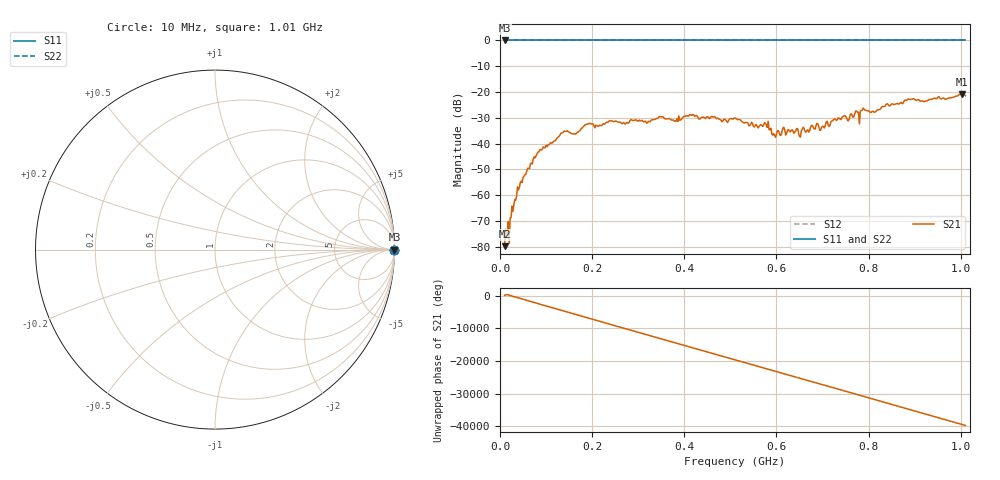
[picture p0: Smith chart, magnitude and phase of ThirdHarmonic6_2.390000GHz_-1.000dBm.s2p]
! 8/17/2025 3:52:18 AM
! C:\ANRITSUVNA\TEMP\TEMP.S2P
! CHANNEL.1
! TR.MEASUREMENT
! RAW.DATA
! RF.CORRECTION.OFF
! AVERAGING.OFF
! IF.BANDWIDTH: 5KHZ
! SWEEPTYPE:  FREQ.SWEEP(Linear)
! Reference Plane Port Info
! PORT:  PORT1  PORT2
! DISTANCE:  0  m  0  m
! TIME:  0  s  0  s
! PHASE.OFFSET:  0  deg.  0  deg.
! LOSS:  0  dB  0  dB
! REF.LOSS:  0  dB  0  dB
! REF.FREQ:  0  Hz  0  Hz
! Power Info
! POWER:  -20  dBm  -20  dBm
! EFF.POWER:  -20  dBm  -20  dBm
! SOURCE.ATTEN:  0  dB  0  dB
! TEST.ATTEN:  0  dB  0  dB
# GHZ S RI R 50.0
! FREQ.GHZ  S11RE  S11IM  S21RE  S21IM  S12RE  S12IM  S22RE  S22IM
!; PortSelection: Port_12
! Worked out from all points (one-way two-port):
!   501 points, 10 MHz to 1.01 GHz, reference 50 ohm
!   highest |S21| = -20.90 dB at 1.002 GHz (marker M1); lowest = -79.8 dB at 10 MHz (marker M2)
!   lowest |S11| = 0.0 dB at 10 MHz (marker M3)
!   |S11| at or under -10 dB: nowhere
!   |S22| runs from 0.0 to 0.0 dB; largest |S21 - S12| = 1.1
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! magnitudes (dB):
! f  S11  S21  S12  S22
! 10 MHz  0.0  -79.8  0.0  0.0
! 20 MHz  0.0  -78.7  0.0  0.0
! 26 MHz  0.0  -64.2  0.0  0.0
! 42 MHz  0.0  -57.1  0.0  0.0
! 78 MHz  0.0  -44.8  0.0  0.0
! 136 MHz  0.0  -35.7  0.0  0.0
! 162 MHz  0.0  -36.1  0.0  0.0
! 178 MHz  0.0  -33.9  0.0  0.0
! 344 MHz  0.0  -29.9  0.0  0.0
! 510 MHz  0.0  -30.1  0.0  0.0
! 556 MHz  0.0  -32.6  0.0  0.0
! 578 MHz  0.0  -32.6  0.0  0.0
! 594 MHz  0.0  -36.1  0.0  0.0
! 614 MHz  0.0  -33.9  0.0  0.0
! 652 MHz  0.0  -37.5  0.0  0.0
! 678 MHz  0.0  -33.0  0.0  0.0
! 698 MHz  0.0  -33.7  0.0  0.0
! 786 MHz  0.0  -27.1  0.0  0.0
! 810 MHz  0.0  -27.5  0.0  0.0
! 844 MHz  0.0  -25.3  0.0  0.0
! 1.002 GHz  0.0  -20.9  0.0  0.0
! 1.01 GHz  0.0  -21.4  0.0  0.0
